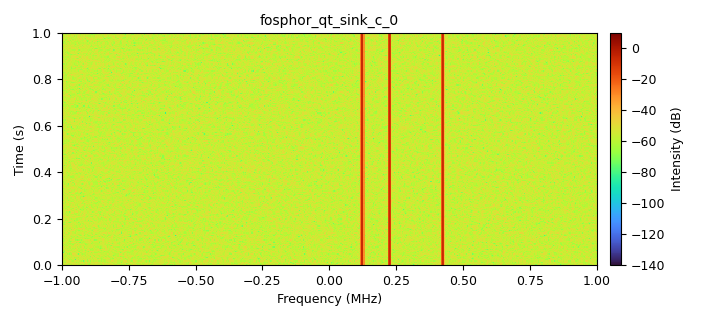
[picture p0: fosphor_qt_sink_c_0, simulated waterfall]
options:
  parameters:
    generate_options: qt_gui
    id: test_fosphor
    output_language: python
    title: Fosphor Test
  states: {}

blocks:
- name: samp_rate
  id: variable
  parameters:
    value: 2e6
  states: {}
- name: analog_sig_source_x_0
  id: analog_sig_source_x
  parameters:
    amp: '1'
    freq: '200000'
    offset: '0'
    phase: '0'
    samp_rate: samp_rate
    type: complex
    waveform: analog.GR_COS_WAVE
  states: {}
- name: analog_sig_source_x_1
  id: analog_sig_source_x
  parameters:
    amp: '1'
    freq: '50000'
    offset: '0'
    phase: '0'
    samp_rate: samp_rate
    type: complex
    waveform: analog.GR_COS_WAVE
  states: {}
- name: analog_sig_source_x_2
  id: analog_sig_source_x
  parameters:
    amp: '1'
    freq: '100000'
    offset: '0'
    phase: '0'
    samp_rate: samp_rate
    type: complex
    waveform: analog.GR_COS_WAVE
  states: {}
- name: blocks_add_xx_0
  id: blocks_add_xx
  parameters:
    num_inputs: '3'
    type: complex
  states: {}
- name: blocks_throttle_0
  id: blocks_throttle
  parameters:
    samples_per_second: samp_rate
    type: complex
  states: {}
- name: channels_channel_model_0
  id: channels_channel_model
  parameters:
    epsilon: '2.0'
    freq_offset: '0.01'
    noise_voltage: '0.1'
    seed: '0'
    taps: 1.0 + 1.0j
  states: {}
- name: fosphor_qt_sink_c_0
  id: fosphor_qt_sink_c
  parameters:
    freq_center: '0'
    freq_span: samp_rate
  states: {}

connections:
- [analog_sig_source_x_0, '0', blocks_add_xx_0, '1']
- [analog_sig_source_x_1, '0', blocks_add_xx_0, '2']
- [analog_sig_source_x_2, '0', blocks_add_xx_0, '0']
- [blocks_add_xx_0, '0', blocks_throttle_0, '0']
- [blocks_throttle_0, '0', channels_channel_model_0, '0']
- [channels_channel_model_0, '0', fosphor_qt_sink_c_0, '0']

metadata:
  file_format: 1
  grc_version: 3.10.4.0
